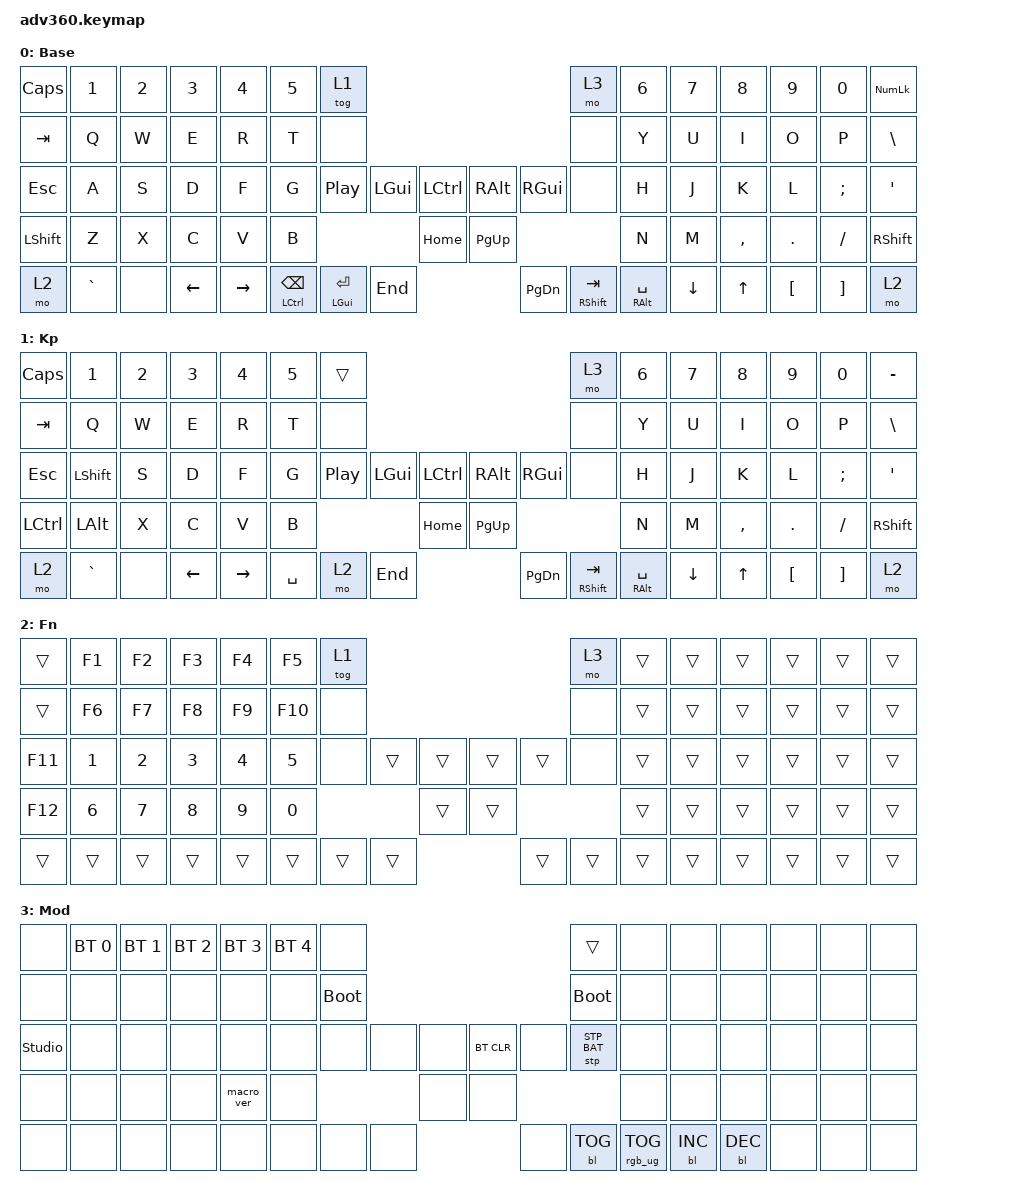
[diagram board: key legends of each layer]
#include <behaviors.dtsi>
#include <dt-bindings/zmk/keys.h>
#include <dt-bindings/zmk/bt.h>
#include <dt-bindings/zmk/rgb.h>
#include <dt-bindings/zmk/stp.h>
#include <dt-bindings/zmk/backlight.h>
#include <dt-bindings/zmk/pointing.h>

/ {
    behaviors {
      #include "macros.dtsi"
      #include "version.dtsi"

      hm: homerow_mods {
          compatible = "zmk,behavior-hold-tap";
          label = "HOMEROW_MODS";
          #binding-cells = <2>;
          tapping-term-ms = <200>;
          quick_tap_ms = <175>;
          flavor = "tap-preferred";
          bindings = <&kp>, <&kp>;
      };


      tm: thumb_mods {
          compatible = "zmk,behavior-hold-tap";
	  label = "THUMB_MODS";
          #binding-cells = <2>;
          flavor = "hold-preferred";
          tapping-term-ms = <200>;
          quick-tap-ms = <175>;
          bindings = <&kp>, <&kp>;
      };


    };

  keymap {
    compatible = "zmk,keymap";

    default_layer {
      display-name = "Base";
      bindings = <
        &kp CAPS  &kp N1    &kp N2   &kp N3   &kp N4     &kp N5 &tog 1                                                           &mo 3 &kp N6  &kp N7    &kp N8     &kp N9    &kp N0    &kp KP_NUM
        &kp TAB   &kp Q     &kp W    &kp E    &kp R      &kp T  &none                                                            &none &kp Y   &kp U     &kp I      &kp O     &kp P     &kp BSLH
        &kp ESC   &kp A     &kp S    &kp D    &kp F      &kp G  &kp C_PP        &kp LGUI &kp LCTRL &kp RALT &kp RGUI             &none &kp H   &kp J     &kp K      &kp L     &kp SEMI  &kp SQT
        &kp LSHFT &kp Z     &kp X    &kp C    &kp V      &kp B                           &kp HOME  &kp PG_UP                           &kp N   &kp M     &kp COMMA  &kp DOT   &kp FSLH  &kp RSHFT
        &mo 2     &kp GRAVE &none    &kp LEFT &kp RIGHT    &tm LCTRL BSPC &tm LGUI ENTER &kp END   &kp PG_DN &tm RSHFT TAB &tm RALT SPACE      &kp DOWN  &kp UP     &kp LBKT  &kp RBKT  &mo 2
      >;
    };
    keypad {
      display-name = "Kp";
      bindings = <
        &kp CAPS  &kp N1    &kp N2   &kp N3   &kp N4     &kp N5 &trans                                                          &mo 3 &kp N6 &kp N7   &kp N8    &kp N9   &kp N0   &kp MINUS
        &kp TAB   &kp Q     &kp W    &kp E    &kp R      &kp T  &none                                                           &none &kp Y  &kp U    &kp I     &kp O    &kp P    &kp BSLH
        &kp ESC   &kp LSHFT &kp S    &kp D    &kp F      &kp G  &kp C_PP        &kp LGUI &kp LCTRL &kp RALT  &kp RGUI           &none &kp H  &kp J    &kp K     &kp L    &kp SEMI &kp SQT
        &kp LCTRL &kp LALT  &kp X    &kp C    &kp V      &kp B                            &kp HOME &kp PG_UP                          &kp N  &kp M    &kp COMMA &kp DOT  &kp FSLH &kp RSHFT
        &mo 2     &kp GRAVE &none    &kp LEFT &kp RIGHT                  &kp SPACE &mo 2  &kp END  &kp PG_DN &tm RSHFT TAB &tm RALT SPACE             &kp DOWN &kp UP    &kp LBKT &kp RBKT &mo 2
      >;
    };
    fn {
      display-name = "Fn";
      bindings = <
        &trans &kp F1 &kp F2 &kp F3 &kp F4 &kp F5  &tog 1                                          &mo 3 &trans &trans &trans &trans  &trans  &trans
	&trans &kp F6 &kp F7 &kp F8 &kp F9 &kp F10 &none                                           &none &trans &trans &trans &trans  &trans  &trans
        &kp F11 &kp N1 &kp N2 &kp N3 &kp N4 &kp N5  &none        &trans &trans &trans &trans        &none &trans &trans &trans &trans  &trans  &trans
        &kp F12 &kp N6 &kp N7 &kp N8 &kp N9 &kp N0                      &trans &trans                     &trans &trans &trans &trans  &trans  &trans
        &trans &trans &trans &trans &trans               &trans &trans &trans &trans &trans &trans              &trans &trans &trans  &trans  &trans
      >;
    };
    mod {
      display-name = "Mod";
      bindings = <
        &none &bt BT_SEL 0 &bt BT_SEL 1 &bt BT_SEL 2 &bt BT_SEL 3 &bt BT_SEL 4 &none                                                                     &trans                 &none        &none        &none        &none &none &none
        &none &none        &none        &none        &none        &none        &bootloader                                                               &bootloader            &none        &none        &none        &none &none &none
        &studio_unlock &none        &none        &none        &none        &none        &none                   &none &none &bt BT_CLR &none                      &stp STP_BAT &none        &none        &none        &none &none &none
        &none &none        &none        &none        &macro_ver   &none                                      &none &none                                                        &none        &none        &none        &none &none &none
        &none &none        &none        &none        &none                                       &none &none &none &none      &bl BL_TOG &rgb_ug RGB_TOG                                     &bl BL_INC   &bl BL_DEC   &none &none &none
      >;
    };
    extra1 { 
      display-name = "Red";    
      status = "reserved";
    };

    extra2 { 
      display-name = "Purple";    
      status = "reserved";
    };

    extra3 { 
      display-name = "Cyan";    
      status = "reserved";
    };

    extra4 { 
      display-name = "Yellow";    
      status = "reserved";
    };
  };
};
